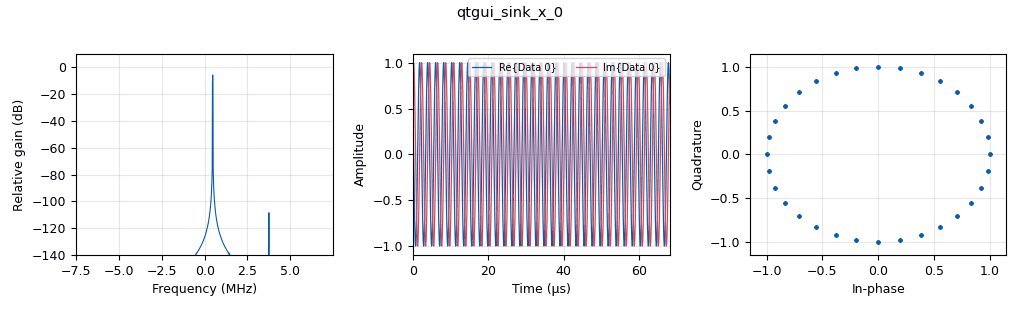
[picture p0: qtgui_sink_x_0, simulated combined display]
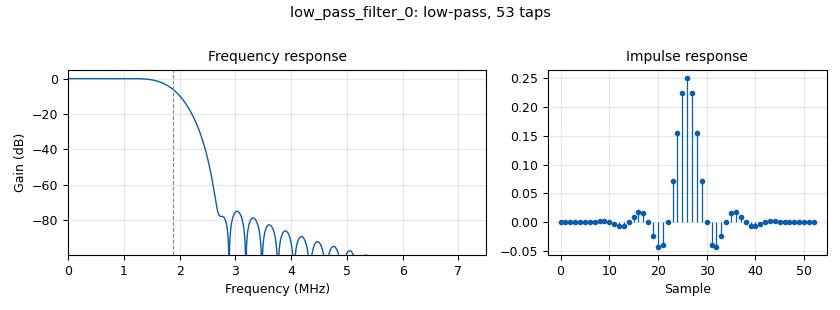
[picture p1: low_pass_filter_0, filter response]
options:
  parameters:
    generate_options: qt_gui
    id: lowpass_test
    output_language: python
    title: Not titled yet
  states: {}

blocks:
- name: samp_rate
  id: variable
  parameters:
    value: '15000000'
  states: {}
- name: analog_sig_source_x_0
  id: analog_sig_source_x
  parameters:
    amp: '1'
    freq: samp_rate/4
    offset: '0'
    phase: '0'
    samp_rate: samp_rate
    type: complex
    waveform: analog.GR_SIN_WAVE
  states: {}
- name: analog_sig_source_x_0_0
  id: analog_sig_source_x
  parameters:
    amp: '1'
    freq: samp_rate /32
    offset: '0'
    phase: '0'
    samp_rate: samp_rate
    type: complex
    waveform: analog.GR_COS_WAVE
  states: {}
- name: blocks_add_xx_0
  id: blocks_add_xx
  parameters:
    type: complex
  states: {}
- name: blocks_complex_to_float_0
  id: blocks_complex_to_float
  parameters: {}
  states: {state: disabled}
- name: blocks_file_sink_0
  id: blocks_file_sink
  parameters:
    file: lowpass_test.dat
    type: complex
  states: {}
- name: blocks_file_sink_0_0
  id: blocks_file_sink
  parameters:
    file: lowpass_test.dat
    type: float
  states: {state: disabled}
- name: blocks_head_0
  id: blocks_head
  parameters:
    num_items: '10000000'
    type: complex
  states: {}
- name: low_pass_filter_0
  id: low_pass_filter
  parameters:
    cutoff_freq: samp_rate/8
    decim: '1'
    gain: '1'
    samp_rate: samp_rate
    type: fir_filter_ccf
    width: samp_rate/16
    win: window.WIN_BLACKMAN
  states: {}
- name: qtgui_sink_x_0
  id: qtgui_sink_x
  parameters:
    bw: samp_rate
    fc: '0'
    fftsize: '1024'
    type: complex
    wintype: window.WIN_HANN
  states: {}

connections:
- [analog_sig_source_x_0, '0', blocks_add_xx_0, '0']
- [analog_sig_source_x_0_0, '0', blocks_add_xx_0, '1']
- [blocks_add_xx_0, '0', low_pass_filter_0, '0']
- [blocks_complex_to_float_0, '0', blocks_file_sink_0_0, '0']
- [blocks_head_0, '0', blocks_complex_to_float_0, '0']
- [blocks_head_0, '0', blocks_file_sink_0, '0']
- [low_pass_filter_0, '0', blocks_head_0, '0']
- [low_pass_filter_0, '0', qtgui_sink_x_0, '0']

metadata:
  file_format: 1
  grc_version: 3.9.8.0-rc1
